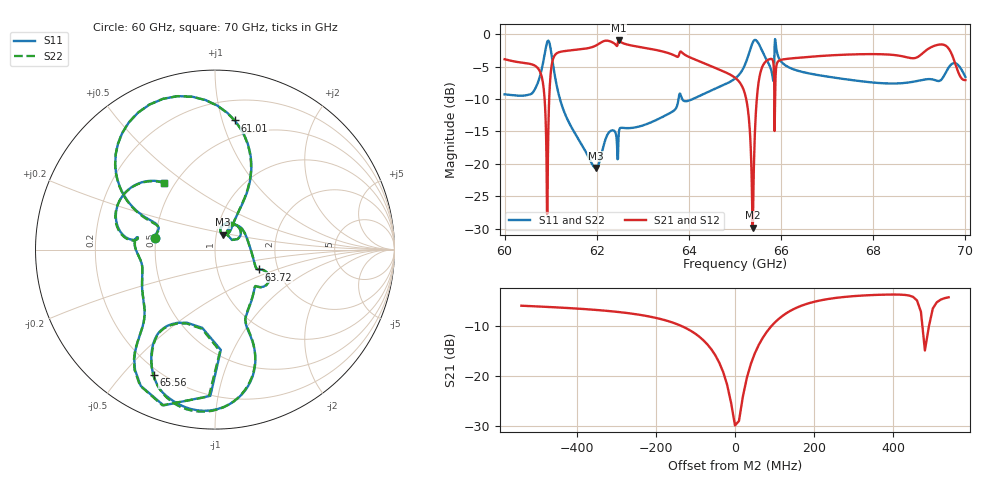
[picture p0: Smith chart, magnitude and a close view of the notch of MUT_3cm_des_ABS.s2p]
! TOUCHSTONE file generated by CST MICROWAVE STUDIO
! Date and time: Wed Feb 21 23:21:44 2024
! Project name: material_desal.cst
! Header version: 2018
! Port assignment regex: !\s*Touchstone port\s*([0-9]+)\s*=\s*(CST MWS port|CST DS port)\s*([0-9]+|Zmin|Zmax)\s*\(\"(.*)\"\)(\s*mode\s*([0-9]+))?.*
! Touchstone port assignment:
! Touchstone port 1 = CST MWS port 1 ("")
! Touchstone port 2 = CST MWS port 2 ("")
# GHz S MA R 376.7
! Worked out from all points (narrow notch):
!   1001 points, 60 GHz to 70 GHz, reference 376.7 ohm
!   highest |S21| = -0.97 dB at 62.48 GHz (marker M1); lowest = -29.8 dB at 65.38 GHz (marker M2)
!   notch at M2: 26.5 dB deep, 90.2 MHz wide at half that depth
!   lowest |S11| = -20.6 dB at 61.98 GHz (marker M3), VSWR 1.21, Z = 404 + j67.5 ohm
!   |S11| at or under -10 dB: 61.2 GHz to 63.77 GHz (2.574 GHz wide, 4.12 % of centre); 63.85399 GHz to 64.08694 GHz (233 MHz wide, 0.364 % of centre)
!   |S22| runs from -20.5 to -0.8 dB; largest |S21 - S12| = 0.019
!   S11 on the Smith chart (normalised r, x): 60 GHz: 0.49, +0.07; 61.01 GHz: 0.36, +1.10; 63.72 GHz: 1.59, -0.38; 65.56 GHz: 0.17, -0.61; 70 GHz: 0.44, +0.42
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60  0.3431 169.2  0.6394 110.2  0.6397 110.2  0.3422 169.4
60.73  0.4303 155.1  0.5412 98.2  0.5411 98.4  0.4315 155.7
60.87  0.7017 141.9  0.3083 70.3  0.3045 69.9  0.6973 142.4
60.94  0.887 114.1  0.1141 -131.8  0.1143 -131.8  0.8867 114.6
61.01  0.728 81.3  0.5393 179.6  0.5542 -179.2  0.727 81.3
61.19  0.3264 59.8  0.7262 142.2  0.7275 142.0  0.3254 60.1
61.67  0.1416 51.6  0.7646 126.8  0.7652 126.8  0.142 51.7
61.98  0.09303 62.9  0.8147 124.1  0.8151 124.1  0.09404 63.0
62.48  0.1759 51.5  0.8946 111.6  0.896 111.2  0.1767 51.8
63.34  0.2221 -14.6  0.7467 97.7  0.7467 97.8  0.2218 -14.2
63.72  0.2684 -24.3  0.6735 95.0  0.6735 95.0  0.2692 -23.9
65  0.4539 -67.6  0.4614 81.8  0.4613 81.8  0.4527 -67.3
65.25  0.6225 -69.0  0.3067 66.4  0.3075 66.4  0.6288 -69.2
65.38  0.8526 -82.9  0.03234 98.4  0.03192 98.2  0.8517 -83.0
65.56  0.7791 -116.1  0.5179 154.2  0.5184 154.2  0.779 -116.2
65.79  0.5205 -123.1  0.643 119.2  0.6427 119.2  0.5226 -122.8
65.9  0.7604 -126.2  0.5734 139.0  0.5738 139.0  0.7599 -126.4
66.67  0.4925 -143.9  0.6697 112.2  0.6696 112.1  0.4919 -143.8
68.34  0.4162 -167.4  0.6948 97.6  0.6959 97.7  0.416 -167.0
69.48  0.4459 172.8  0.8315 84.2  0.8318 84.3  0.4456 173.2
69.72  0.5921 158.0  0.6777 66.2  0.6776 66.2  0.593 158.5
70  0.4679 127.1  0.4422 81.9  0.4423 81.9  0.4693 127.6
